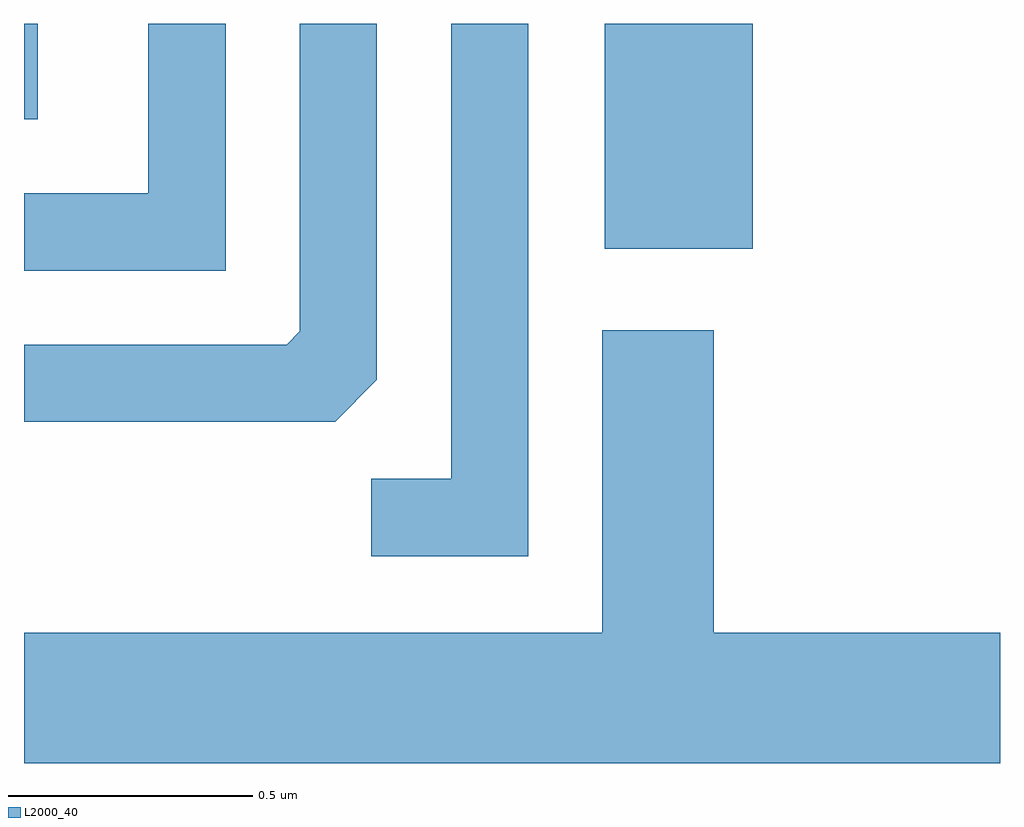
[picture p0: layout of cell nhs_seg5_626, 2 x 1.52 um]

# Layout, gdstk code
import gdstk
lib = gdstk.Library(unit=1e-6, precision=1e-09)
def R(c, l, rs):  # rectangles x0, y0, x1, y1
    for r in rs: c.add(gdstk.rectangle(r[:2], r[2:], *l))
def P(c, l, *ps):  # polygons
    for p in ps: c.add(gdstk.Polygon(p, *l))
L2000_40 = (2000, 40)

nhs_seg5_626 = lib.new_cell('nhs_seg5_626')
R(nhs_seg5_626, L2000_40, [(190.801,1475.611,191.104,1476.072), (189.611,1475.876,189.639,1476.072)])
P(nhs_seg5_626, L2000_40, [(190.644,1476.072),(190.486,1476.072),(190.486,1475.139),(190.323,1475.139),(190.323,1474.981),(190.644,1474.981)],
  [(190.024,1476.072),(189.866,1476.072),(189.866,1475.724),(189.611,1475.724),(189.611,1475.566),(190.024,1475.566)],
  [(190.334,1475.342),(190.334,1476.072),(190.176,1476.072),(190.176,1475.442),(190.149,1475.414),(189.611,1475.414),(189.611,1475.256),(190.249,1475.256)],
  [(191.611,1474.824),(191.024,1474.824),(191.024,1475.444),(190.796,1475.444),(190.796,1474.824),(189.611,1474.824),(189.611,1474.556),(191.611,1474.556)])

lib.write_gds('nhs_seg5_626.gds')
